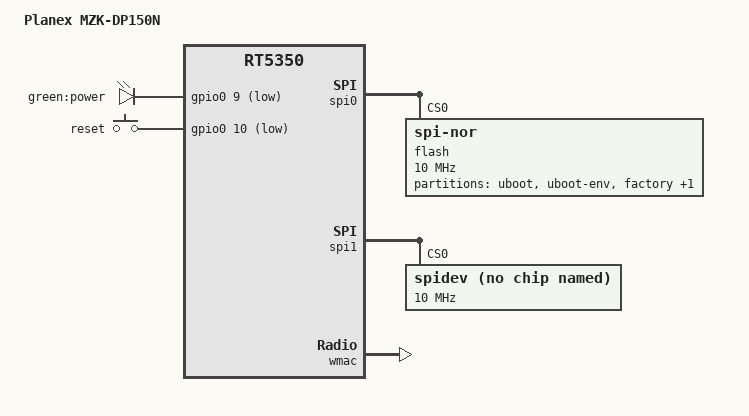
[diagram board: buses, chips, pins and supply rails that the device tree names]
#include "rt5350.dtsi"

#include <dt-bindings/gpio/gpio.h>
#include <dt-bindings/input/input.h>

/ {
	compatible = "planex,mzk-dp150n", "ralink,rt5350-soc";
	model = "Planex MZK-DP150N";

	aliases {
		led-boot = &led_power;
		led-failsafe = &led_power;
		led-running = &led_power;
		led-upgrade = &led_power;
	};

	leds {
		compatible = "gpio-leds";

		led_power: power {
			label = "green:power";
			gpios = <&gpio0 9 GPIO_ACTIVE_LOW>;
		};
	};

	keys {
		compatible = "gpio-keys-polled";
		poll-interval = <20>;

		reset {
			label = "reset";
			gpios = <&gpio0 10 GPIO_ACTIVE_LOW>;
			linux,code = <KEY_RESTART>;
		};
	};
};

&spi0 {
	status = "okay";

	flash@0 {
		compatible = "jedec,spi-nor";
		reg = <0>;
		spi-max-frequency = <10000000>;

		partitions {
			compatible = "fixed-partitions";
			#address-cells = <1>;
			#size-cells = <1>;

			partition@0 {
				label = "uboot";
				reg = <0x0 0x30000>;
				read-only;
			};

			partition@30000 {
				label = "uboot-env";
				reg = <0x30000 0x10000>;
				read-only;
			};

			factory: partition@40000 {
				label = "factory";
				reg = <0x40000 0x10000>;
				read-only;
			};

			partition@50000 {
				compatible = "denx,uimage";
				label = "firmware";
				reg = <0x50000 0x3b0000>;
			};
		};
	};
};

&spi1 {
	spidev@0 {
		compatible = "linux,spidev";
		spi-max-frequency = <10000000>;
		reg = <0>;
	};
};

&state_default {
	gpio {
		groups = "jtag", "uartf", "led";
		function = "gpio";
	};
};

&ethernet {
	nvmem-cells = <&macaddr_factory_4>;
	nvmem-cell-names = "mac-address";
};

&esw {
	mediatek,portmap = <0x17>;
};

&wmac {
	ralink,mtd-eeprom = <&factory 0x0>;
	ralink,led-polarity = <1>;
};

&factory {
	compatible = "nvmem-cells";
	#address-cells = <1>;
	#size-cells = <1>;

	macaddr_factory_4: macaddr@4 {
		reg = <0x4 0x6>;
	};
};
